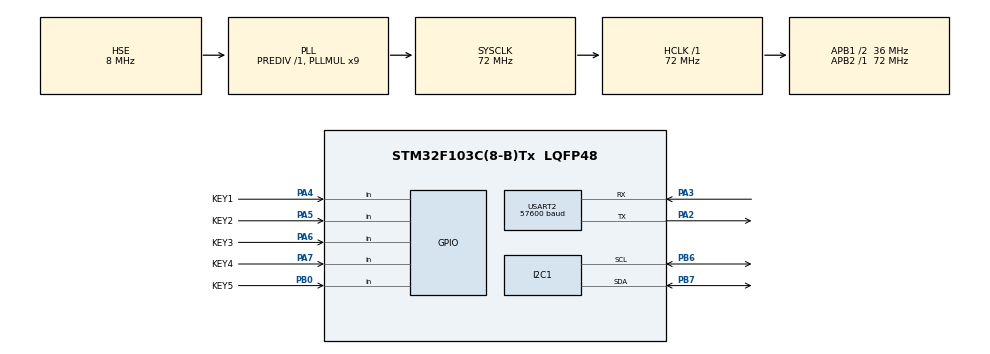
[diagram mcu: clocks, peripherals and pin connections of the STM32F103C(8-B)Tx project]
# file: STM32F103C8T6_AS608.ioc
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Mcu.Family=STM32F1
Mcu.Name=STM32F103C(8-B)Tx
Mcu.Package=LQFP48
NVIC.PriorityGroup=NVIC_PRIORITYGROUP_4
NVIC.USART2_IRQn=true\:0\:0\:false\:false\:true\:true\:true\:true
PA2.Mode=Asynchronous
PA2.Signal=USART2_TX
PA3.Mode=Asynchronous
PA3.Signal=USART2_RX
PA4.GPIO_Label=KEY1
PA4.GPIO_PuPd=GPIO_PULLUP
PA4.Signal=GPIO_Input
PA5.GPIO_Label=KEY2
PA5.GPIO_PuPd=GPIO_PULLUP
PA5.Signal=GPIO_Input
PA6.GPIO_Label=KEY3
PA6.GPIO_PuPd=GPIO_PULLUP
PA6.Signal=GPIO_Input
PA7.GPIO_Label=KEY4
PA7.GPIO_PuPd=GPIO_PULLUP
PA7.Signal=GPIO_Input
PB0.GPIO_Label=KEY5
PB0.GPIO_PuPd=GPIO_PULLUP
PB0.Signal=GPIO_Input
PB6.Mode=I2C
PB6.Signal=I2C1_SCL
PB7.Mode=I2C
PB7.Signal=I2C1_SDA
PD0-OSC_IN.Mode=HSE-External-Oscillator
PD0-OSC_IN.Signal=RCC_OSC_IN
PD1-OSC_OUT.Mode=HSE-External-Oscillator
PD1-OSC_OUT.Signal=RCC_OSC_OUT
ProjectManager.HeapSize=0x200
ProjectManager.StackSize=0x400
ProjectManager.TargetToolchain=STM32CubeIDE
RCC.AHBFreq_Value=72000000
RCC.APB1CLKDivider=RCC_HCLK_DIV2
RCC.APB1Freq_Value=36000000
RCC.APB1TimFreq_Value=72000000
RCC.APB2Freq_Value=72000000
RCC.APB2TimFreq_Value=72000000
RCC.HCLKFreq_Value=72000000
RCC.PLLMUL=RCC_PLL_MUL9
RCC.PLLSourceVirtual=RCC_PLLSOURCE_HSE
RCC.SYSCLKFreq_VALUE=72000000
RCC.SYSCLKSource=RCC_SYSCLKSOURCE_PLLCLK
RCC.USBFreq_Value=72000000
USART2.BaudRate=57600
USART2.VirtualMode=VM_ASYNC
board=custom

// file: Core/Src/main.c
/* USER CODE BEGIN Header */
/**
  ******************************************************************************
  * @file           : main.c
  * @brief          : Main program body
  ******************************************************************************
  * @attention
  *
  * <h2><center>&copy; Copyright (c) 2022 STMicroelectronics.
  * All rights reserved.</center></h2>
  *
  * This software component is licensed by ST under BSD 3-Clause license,
  * the "License"; You may not use this file except in compliance with the
  * License. You may obtain a copy of the License at:
  *                        opensource.org/licenses/BSD-3-Clause
  *
  ******************************************************************************
  */
/* USER CODE END Header */
#include "main.h"
#include "i2c.h"
#include "usart.h"
#include "gpio.h"

/* USER CODE BEGIN Includes */
#include "key.h"
#include "oled.h"
#include "as608.h"
//#include "AS608.h"

/* USER CODE END Includes */

/* USER CODE BEGIN PV */
uint8_t key_num = 0;

/* USER CODE END PV */

void SystemClock_Config(void);

int main(void)
{

  /* MCU Configuration--------------------------------------------------------*/

  /* Reset of all peripherals, Initializes the Flash interface and the Systick. */
  HAL_Init();

  /* Configure the system clock */
  SystemClock_Config();

  /* Initialize all configured peripherals */
  MX_GPIO_Init();
  MX_I2C1_Init();
  MX_USART2_UART_Init();
  /* USER CODE BEGIN 2 */
	OLED_Init();
	HAL_Delay(40);
	OLED_Clear();
	HAL_Delay(40);
	OLED_Clear();
	OLED_ShowString(0, 0, "text", 16, 0);
	OLED_ShowString(0, 2, "k1 add", 16, 0);
	OLED_ShowString(0, 4, "k3 del", 16, 0);
	OLED_ShowString(0, 6, "k5 ver", 16, 0);
  /* USER CODE END 2 */

  /* Infinite loop */
  /* USER CODE BEGIN WHILE */
	while (1) {
		key_num = KEY_Scan(0);
		if (key_num == 1) {
			key_num = 0;
			OLED_Clear();
			Add_FR();
		}
		if (key_num == 3) {
			key_num = 0;
			OLED_Clear();
			Del_FR();
		}
		if (key_num == 5) {
			key_num = 0;
			OLED_Clear();
			OLED_ShowString(0, 2, "please press", 16, 0);
			OLED_ShowString(0, 4, "K1 back", 16, 0);
			press_FR();
		}
	}
    /* USER CODE END WHILE */

}

void SystemClock_Config(void)
{
  RCC_OscInitTypeDef RCC_OscInitStruct = {0};
  RCC_ClkInitTypeDef RCC_ClkInitStruct = {0};

  /** Initializes the RCC Oscillators according to the specified parameters
  * in the RCC_OscInitTypeDef structure.
  */
  RCC_OscInitStruct.OscillatorType = RCC_OSCILLATORTYPE_HSE;
  RCC_OscInitStruct.HSEState = RCC_HSE_ON;
  RCC_OscInitStruct.HSEPredivValue = RCC_HSE_PREDIV_DIV1;
  RCC_OscInitStruct.HSIState = RCC_HSI_ON;
  RCC_OscInitStruct.PLL.PLLState = RCC_PLL_ON;
  RCC_OscInitStruct.PLL.PLLSource = RCC_PLLSOURCE_HSE;
  RCC_OscInitStruct.PLL.PLLMUL = RCC_PLL_MUL9;
  if (HAL_RCC_OscConfig(&RCC_OscInitStruct) != HAL_OK)
  {
    Error_Handler();
  }

  /** Initializes the CPU, AHB and APB buses clocks
  */
  RCC_ClkInitStruct.ClockType = RCC_CLOCKTYPE_HCLK|RCC_CLOCKTYPE_SYSCLK
                              |RCC_CLOCKTYPE_PCLK1|RCC_CLOCKTYPE_PCLK2;
  RCC_ClkInitStruct.SYSCLKSource = RCC_SYSCLKSOURCE_PLLCLK;
  RCC_ClkInitStruct.AHBCLKDivider = RCC_SYSCLK_DIV1;
  RCC_ClkInitStruct.APB1CLKDivider = RCC_HCLK_DIV2;
  RCC_ClkInitStruct.APB2CLKDivider = RCC_HCLK_DIV1;

  if (HAL_RCC_ClockConfig(&RCC_ClkInitStruct, FLASH_LATENCY_2) != HAL_OK)
  {
    Error_Handler();
  }
}

void Error_Handler(void)
{
}
